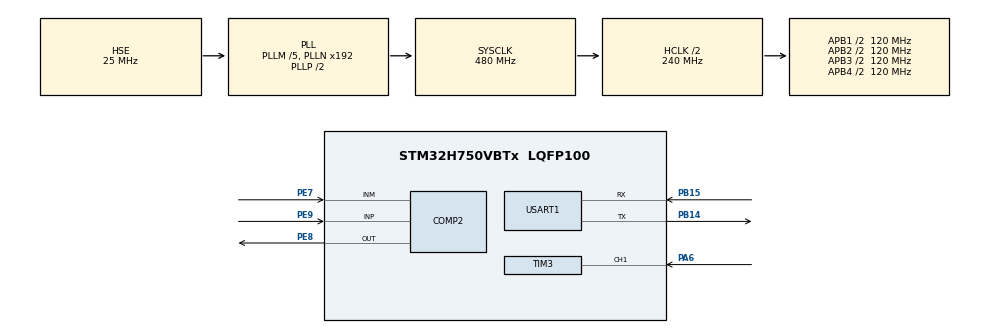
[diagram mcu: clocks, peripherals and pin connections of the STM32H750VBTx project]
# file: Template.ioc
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COMP2.BlankingSrce=COMP_BLANKINGSRC_NONE
COMP2.OutputPol=COMP_OUTPUTPOL_NONINVERTED
COMP2.TriggerMode=COMP_TRIGGERMODE_IT_RISING
CORTEX_M7.AccessPermission-Cortex_Memory_Protection_Unit_Region0_Settings=MPU_REGION_FULL_ACCESS
CORTEX_M7.AccessPermission-Cortex_Memory_Protection_Unit_Region1_Settings=MPU_REGION_FULL_ACCESS
CORTEX_M7.AccessPermission-Cortex_Memory_Protection_Unit_Region2_Settings=MPU_REGION_FULL_ACCESS
CORTEX_M7.AccessPermission-Cortex_Memory_Protection_Unit_Region3_Settings=MPU_REGION_FULL_ACCESS
CORTEX_M7.AccessPermission-Cortex_Memory_Protection_Unit_Region4_Settings=MPU_REGION_FULL_ACCESS
CORTEX_M7.BaseAddress-Cortex_Memory_Protection_Unit_Region0_Settings=0x24000000
CORTEX_M7.BaseAddress-Cortex_Memory_Protection_Unit_Region1_Settings=0x30000000
CORTEX_M7.BaseAddress-Cortex_Memory_Protection_Unit_Region2_Settings=0x30020000
CORTEX_M7.BaseAddress-Cortex_Memory_Protection_Unit_Region3_Settings=0x30040000
CORTEX_M7.BaseAddress-Cortex_Memory_Protection_Unit_Region4_Settings=0x38000000
CORTEX_M7.CPU_DCache=Enabled
CORTEX_M7.CPU_ICache=Enabled
CORTEX_M7.Enable-Cortex_Memory_Protection_Unit_Region0_Settings=MPU_REGION_ENABLE
CORTEX_M7.Enable-Cortex_Memory_Protection_Unit_Region1_Settings=MPU_REGION_ENABLE
CORTEX_M7.Enable-Cortex_Memory_Protection_Unit_Region2_Settings=MPU_REGION_ENABLE
CORTEX_M7.Enable-Cortex_Memory_Protection_Unit_Region3_Settings=MPU_REGION_ENABLE
CORTEX_M7.Enable-Cortex_Memory_Protection_Unit_Region4_Settings=MPU_REGION_ENABLE
CORTEX_M7.IsBufferable-Cortex_Memory_Protection_Unit_Region0_Settings=MPU_ACCESS_BUFFERABLE
CORTEX_M7.IsCacheable-Cortex_Memory_Protection_Unit_Region0_Settings=MPU_ACCESS_CACHEABLE
CORTEX_M7.MPU_Control=MPU_PRIVILEGED_DEFAULT
CORTEX_M7.Size-Cortex_Memory_Protection_Unit_Region0_Settings=MPU_REGION_SIZE_512KB
CORTEX_M7.Size-Cortex_Memory_Protection_Unit_Region1_Settings=MPU_REGION_SIZE_128KB
CORTEX_M7.Size-Cortex_Memory_Protection_Unit_Region2_Settings=MPU_REGION_SIZE_128KB
CORTEX_M7.Size-Cortex_Memory_Protection_Unit_Region3_Settings=MPU_REGION_SIZE_32KB
CORTEX_M7.Size-Cortex_Memory_Protection_Unit_Region4_Settings=MPU_REGION_SIZE_64KB
CORTEX_M7.TypeExtField-Cortex_Memory_Protection_Unit_Region0_Settings=MPU_TEX_LEVEL1
CORTEX_M7.TypeExtField-Cortex_Memory_Protection_Unit_Region1_Settings=MPU_TEX_LEVEL1
CORTEX_M7.TypeExtField-Cortex_Memory_Protection_Unit_Region2_Settings=MPU_TEX_LEVEL1
CORTEX_M7.TypeExtField-Cortex_Memory_Protection_Unit_Region3_Settings=MPU_TEX_LEVEL1
CORTEX_M7.TypeExtField-Cortex_Memory_Protection_Unit_Region4_Settings=MPU_TEX_LEVEL1
Mcu.Family=STM32H7
Mcu.Name=STM32H750VBTx
Mcu.Package=LQFP100
NVIC.COMP_IRQn=true\:0\:0\:false\:false\:true\:false\:true\:true
NVIC.PriorityGroup=NVIC_PRIORITYGROUP_4
NVIC.TIM3_IRQn=true\:0\:0\:false\:false\:true\:true\:true\:true
NVIC.TIM5_IRQn=true\:0\:0\:false\:false\:true\:true\:true\:true
PA13\ (JTMS/SWDIO).Mode=Serial_Wire
PA13\ (JTMS/SWDIO).Signal=DEBUG_JTMS-SWDIO
PA14\ (JTCK/SWCLK).Mode=Serial_Wire
PA14\ (JTCK/SWCLK).Signal=DEBUG_JTCK-SWCLK
PA6.Signal=S_TIM3_CH1
PB14.Mode=Asynchronous
PB14.Signal=USART1_TX
PB15.Mode=Asynchronous
PB15.Signal=USART1_RX
PE7.Mode=INM
PE7.Signal=COMP2_INM
PE8.Mode=ExternalOutput
PE8.Signal=COMP2_OUT
PE9.Mode=INP
PE9.Signal=COMP2_INP
PH0-OSC_IN\ (PH0).Mode=HSE-External-Oscillator
PH0-OSC_IN\ (PH0).Signal=RCC_OSC_IN
PH1-OSC_OUT\ (PH1).Mode=HSE-External-Oscillator
PH1-OSC_OUT\ (PH1).Signal=RCC_OSC_OUT
ProjectManager.HeapSize=0x200
ProjectManager.StackSize=0x7400
ProjectManager.TargetToolchain=MDK-ARM V5.32
RCC.ADCFreq_Value=50390625
RCC.APB1Freq_Value=120000000
RCC.APB2Freq_Value=120000000
RCC.APB3Freq_Value=120000000
RCC.APB4Freq_Value=120000000
RCC.CortexFreq_Value=480000000
RCC.D1PPRE=RCC_APB3_DIV2
RCC.D2PPRE1=RCC_APB1_DIV2
RCC.D2PPRE2=RCC_APB2_DIV2
RCC.D3PPRE=RCC_APB4_DIV2
RCC.DIVM1=5
RCC.DIVN1=192
RCC.HCLKFreq_Value=240000000
RCC.HPRE=RCC_HCLK_DIV2
RCC.PLLSourceVirtual=RCC_PLLSOURCE_HSE
RCC.ProductRev=revV
RCC.SYSCLKFreq_VALUE=480000000
RCC.SYSCLKSource=RCC_SYSCLKSOURCE_PLLCLK
RCC.USBFreq_Value=480000000
SH.S_TIM3_CH1.0=TIM3_CH1,Input_Capture1_from_TI1
TIM2.Period=0xFFFFFFFF
TIM3.Channel-Input_Capture1_from_TI1=TIM_CHANNEL_1
TIM3.Period=0
TIM3.Prescaler=240-1
TIM5.Period=10000-1
TIM5.Prescaler=24000-1
TIM7.Prescaler=239
USART1.VirtualMode-Asynchronous=VM_ASYNC
VP_TIM2_VS_ClockSourceINT.Mode=Internal
VP_TIM3_VS_ClockSourceINT.Mode=Internal
VP_TIM5_VS_ClockSourceINT.Mode=Internal
VP_TIM7_VS_ClockSourceINT.Mode=Enable_Timer
board=custom

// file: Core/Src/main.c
/* USER CODE BEGIN Header */
/**
  ******************************************************************************
  * @file           : main.c
  * @brief          : Main program body
  ******************************************************************************
  * @attention
  *
  * Copyright (c) 2023 STMicroelectronics.
  * All rights reserved.
  *
  * This software is licensed under terms that can be found in the LICENSE file
  * in the root directory of this software component.
  * If no LICENSE file comes with this software, it is provided AS-IS.
  *
  ******************************************************************************
  */
/* USER CODE END Header */
#include "main.h"
#include "comp.h"
#include "tim.h"
#include "usart.h"
#include "gpio.h"

/* USER CODE BEGIN PV */
uint16_t GATE_OPEN,GATE_READY2CLOSE;
uint32_t Nx,Nb;
uint8_t Fre_State=LOW_FREQUENCY;	//默认低频
double fre;

/* USER CODE END PV */

void SystemClock_Config(void);
static void MPU_Initialize(void);
static void MPU_Config(void);
/* USER CODE BEGIN PFP */
void Parameter_Init(void);
void Turn2HIGH_FREQUENCY_MODE(void);
void Turn2LOW_FREQUENCY_MODE(void);

void MX_TIM3_Init_ETR(void);

/* USER CODE END PFP */

int main(void)
{

  /* Enable I-Cache---------------------------------------------------------*/
  SCB_EnableICache();

  /* Enable D-Cache---------------------------------------------------------*/
  SCB_EnableDCache();

  /* MCU Configuration--------------------------------------------------------*/

  /* Reset of all peripherals, Initializes the Flash interface and the Systick. */
  HAL_Init();

  /* MPU Configuration--------------------------------------------------------*/
  MPU_Config();

  /* Configure the system clock */
  SystemClock_Config();

  /* Initialize all configured peripherals */
  MX_GPIO_Init();
  MX_TIM7_Init();
  MX_USART1_UART_Init();
  MX_TIM2_Init();
  MX_TIM3_Init();
  MX_TIM5_Init();
  MX_COMP2_Init();
  /* USER CODE BEGIN 2 */
	Parameter_Init();

	printf("\nstart\n");
  HAL_TIM_IC_Start_IT(&htim3, TIM_CHANNEL_1);    //启动输入捕获

	HAL_COMP_Start(&hcomp2);

  /* USER CODE END 2 */

  /* Infinite loop */
  while (1)
  {

  }
}

void SystemClock_Config(void)
{
  RCC_OscInitTypeDef RCC_OscInitStruct = {0};
  RCC_ClkInitTypeDef RCC_ClkInitStruct = {0};

  /** Supply configuration update enable
  */
  HAL_PWREx_ConfigSupply(PWR_LDO_SUPPLY);

  /** Configure the main internal regulator output voltage
  */
  __HAL_PWR_VOLTAGESCALING_CONFIG(PWR_REGULATOR_VOLTAGE_SCALE1);

  while(!__HAL_PWR_GET_FLAG(PWR_FLAG_VOSRDY)) {}

  __HAL_RCC_SYSCFG_CLK_ENABLE();
  __HAL_PWR_VOLTAGESCALING_CONFIG(PWR_REGULATOR_VOLTAGE_SCALE0);

  while(!__HAL_PWR_GET_FLAG(PWR_FLAG_VOSRDY)) {}

  /** Initializes the RCC Oscillators according to the specified parameters
  * in the RCC_OscInitTypeDef structure.
  */
  RCC_OscInitStruct.OscillatorType = RCC_OSCILLATORTYPE_HSE;
  RCC_OscInitStruct.HSEState = RCC_HSE_ON;
  RCC_OscInitStruct.PLL.PLLState = RCC_PLL_ON;
  RCC_OscInitStruct.PLL.PLLSource = RCC_PLLSOURCE_HSE;
  RCC_OscInitStruct.PLL.PLLM = 5;
  RCC_OscInitStruct.PLL.PLLN = 192;
  RCC_OscInitStruct.PLL.PLLP = 2;
  RCC_OscInitStruct.PLL.PLLQ = 2;
  RCC_OscInitStruct.PLL.PLLR = 2;
  RCC_OscInitStruct.PLL.PLLRGE = RCC_PLL1VCIRANGE_2;
  RCC_OscInitStruct.PLL.PLLVCOSEL = RCC_PLL1VCOWIDE;
  RCC_OscInitStruct.PLL.PLLFRACN = 0;
  if (HAL_RCC_OscConfig(&RCC_OscInitStruct) != HAL_OK)
  {
    Error_Handler();
  }

  /** Initializes the CPU, AHB and APB buses clocks
  */
  RCC_ClkInitStruct.ClockType = RCC_CLOCKTYPE_HCLK|RCC_CLOCKTYPE_SYSCLK
                              |RCC_CLOCKTYPE_PCLK1|RCC_CLOCKTYPE_PCLK2
                              |RCC_CLOCKTYPE_D3PCLK1|RCC_CLOCKTYPE_D1PCLK1;
  RCC_ClkInitStruct.SYSCLKSource = RCC_SYSCLKSOURCE_PLLCLK;
  RCC_ClkInitStruct.SYSCLKDivider = RCC_SYSCLK_DIV1;
  RCC_ClkInitStruct.AHBCLKDivider = RCC_HCLK_DIV2;
  RCC_ClkInitStruct.APB3CLKDivider = RCC_APB3_DIV2;
  RCC_ClkInitStruct.APB1CLKDivider = RCC_APB1_DIV2;
  RCC_ClkInitStruct.APB2CLKDivider = RCC_APB2_DIV2;
  RCC_ClkInitStruct.APB4CLKDivider = RCC_APB4_DIV2;

  if (HAL_RCC_ClockConfig(&RCC_ClkInitStruct, FLASH_LATENCY_4) != HAL_OK)
  {
    Error_Handler();
  }
}

/* USER CODE BEGIN 4 */

//初始化
void Parameter_Init(void)
{

	GATE_OPEN=0;
	GATE_READY2CLOSE=0;
	Nx=0;
	Nb=0;
	fre=0.0;
}

//输入捕获的中断回调函数
void HAL_TIM_IC_CaptureCallback(TIM_HandleTypeDef *htim)
{
	if(TIM3 == htim->Instance)
	{

		if(!GATE_OPEN)
		{
			//启动闸门 TIM5 开始计数标准信号
			__HAL_TIM_CLEAR_IT(&htim5, TIM_IT_UPDATE);
			HAL_TIM_Base_Start_IT(&htim5);
			HAL_TIM_Base_Start(&htim2);
			GATE_OPEN=1;
		}
		else
		{
			//测频中，捕捉到一次信号 输入计数值加1
			Nx++;

			//避免低频模式，输入频率过高，程序卡死
			if(Nx>20000)
			{
				HAL_TIM_Base_Stop(&htim2);
				HAL_TIM_IC_Stop_IT(&htim3, TIM_CHANNEL_1);
				HAL_TIM_Base_Stop_IT(&htim5);
				Turn2HIGH_FREQUENCY_MODE();
			}
		}

		if(GATE_OPEN&&GATE_READY2CLOSE)
		{
			//关闭闸门 停止捕捉
			HAL_TIM_Base_Stop(&htim2);
			HAL_TIM_IC_Stop_IT(&htim3, TIM_CHANNEL_1);
			HAL_TIM_Base_Stop_IT(&htim5);
			//锁存Nx Nb数据 计算频率值
			Nb=__HAL_TIM_GetCounter(&htim2);
			fre=((double)Nx)/((double)Nb)*240000000.0;
			//判断
			if(fre<10000.0)
			{
	//		  	// LCD显示
	//				LCD_Display();
					printf("fre = %f\n",fre);
	//				HAL_Delay(500);

					//准备下一次测量
					Parameter_Init();
					__HAL_TIM_SetCounter(&htim2,0);  //注意！！！！！！！计数值不会因为定时器暂停而清零
					HAL_TIM_IC_Start_IT(&htim3, TIM_CHANNEL_1);    //启动输入捕获
			}
			else
			{
				Turn2HIGH_FREQUENCY_MODE();
			}
		}
	}
}

//定时器触发的中断回调函数
void HAL_TIM_PeriodElapsedCallback(TIM_HandleTypeDef *htim)
{
	//闸门溢出 规定测量时间到
		if(TIM5 == htim->Instance&&Fre_State==LOW_FREQUENCY)
    {
			GATE_READY2CLOSE=1;
    }
		else if(TIM5 == htim->Instance&&Fre_State==HIGH_FREQUENCY)
    {
			HAL_TIM_Base_Stop_IT(&htim5);
			HAL_TIM_Base_Stop_IT(&htim3);
			HAL_TIM_Base_Stop(&htim2);
			Nx+=TIM3->CNT;
			Nb=TIM2->CNT;
	  	fre=((double)Nx)/((double)Nb)*240000000.0;
			if(Nx>=10000.0)
			{
				//显示
//			LCD_Display();

			printf("fre = %f\n",fre);

//			HAL_Delay(100);

	    Parameter_Init();
	  	__HAL_TIM_SetCounter(&htim2,0);  //注意！！！！！！！计数值不会因为定时器暂停而清零
			__HAL_TIM_SetCounter(&htim3,0);  //注意！！！！！！！计数值不会因为定时器暂停而清零

			HAL_TIM_Base_Start_IT(&htim5);
			HAL_TIM_Base_Start_IT(&htim3);
			HAL_TIM_Base_Start(&htim2);
			}
			else
			{
				Turn2LOW_FREQUENCY_MODE();
			}
    }

		//溢出
		else if(TIM3 == htim->Instance&&Fre_State==HIGH_FREQUENCY)
    {
			Nx+=0xFFFF;
    }

}

//测高频
void Turn2HIGH_FREQUENCY_MODE(void)
{
		  Fre_State=HIGH_FREQUENCY;
			MX_TIM3_Init_ETR();

			Parameter_Init();
	  	__HAL_TIM_SetCounter(&htim2,0);  //注意！！！！！！！计数值不会因为定时器暂停而清零
			__HAL_TIM_SetCounter(&htim3,0);  //注意！！！！！！！计数值不会因为定时器暂停而清零

			HAL_TIM_Base_Start_IT(&htim5);
			HAL_TIM_Base_Start_IT(&htim3);
			HAL_TIM_Base_Start(&htim2);
}

//测低频
void Turn2LOW_FREQUENCY_MODE(void)
{
		Fre_State=LOW_FREQUENCY;
		Parameter_Init();
	  __HAL_TIM_SetCounter(&htim2,0);  //注意！！！！！！！计数值不会因为定时器暂停而清零
		MX_TIM3_Init();
		HAL_TIM_IC_Start_IT(&htim3, TIM_CHANNEL_1);    //启动输入捕获
}

/* USER CODE END 4 */

/* MPU Configuration */

void MPU_Config(void)
{
  MPU_Region_InitTypeDef MPU_InitStruct = {0};

  /* Disables the MPU */
  HAL_MPU_Disable();

  /** Initializes and configures the Region and the memory to be protected
  */
  MPU_InitStruct.Enable = MPU_REGION_ENABLE;
  MPU_InitStruct.Number = MPU_REGION_NUMBER0;
  MPU_InitStruct.BaseAddress = 0x24000000;
  MPU_InitStruct.Size = MPU_REGION_SIZE_512KB;
  MPU_InitStruct.SubRegionDisable = 0x0;
  MPU_InitStruct.TypeExtField = MPU_TEX_LEVEL1;
  MPU_InitStruct.AccessPermission = MPU_REGION_FULL_ACCESS;
  MPU_InitStruct.DisableExec = MPU_INSTRUCTION_ACCESS_ENABLE;
  MPU_InitStruct.IsShareable = MPU_ACCESS_NOT_SHAREABLE;
  MPU_InitStruct.IsCacheable = MPU_ACCESS_CACHEABLE;
  MPU_InitStruct.IsBufferable = MPU_ACCESS_BUFFERABLE;

  HAL_MPU_ConfigRegion(&MPU_InitStruct);

  /** Initializes and configures the Region and the memory to be protected
  */
  MPU_InitStruct.Number = MPU_REGION_NUMBER1;
  MPU_InitStruct.BaseAddress = 0x30000000;
  MPU_InitStruct.Size = MPU_REGION_SIZE_128KB;
  MPU_InitStruct.IsCacheable = MPU_ACCESS_NOT_CACHEABLE;
  MPU_InitStruct.IsBufferable = MPU_ACCESS_NOT_BUFFERABLE;

  HAL_MPU_ConfigRegion(&MPU_InitStruct);

  /** Initializes and configures the Region and the memory to be protected
  */
  MPU_InitStruct.Number = MPU_REGION_NUMBER2;
  MPU_InitStruct.BaseAddress = 0x30020000;

  HAL_MPU_ConfigRegion(&MPU_InitStruct);

  /** Initializes and configures the Region and the memory to be protected
  */
  MPU_InitStruct.Number = MPU_REGION_NUMBER3;
  MPU_InitStruct.BaseAddress = 0x30040000;
  MPU_InitStruct.Size = MPU_REGION_SIZE_32KB;

  HAL_MPU_ConfigRegion(&MPU_InitStruct);

  /** Initializes and configures the Region and the memory to be protected
  */
  MPU_InitStruct.Number = MPU_REGION_NUMBER4;
  MPU_InitStruct.BaseAddress = 0x38000000;
  MPU_InitStruct.Size = MPU_REGION_SIZE_64KB;

  HAL_MPU_ConfigRegion(&MPU_InitStruct);
  /* Enables the MPU */
  HAL_MPU_Enable(MPU_PRIVILEGED_DEFAULT);

}

void Error_Handler(void)
{
  __disable_irq();
  while (1)
  {
  }
}
